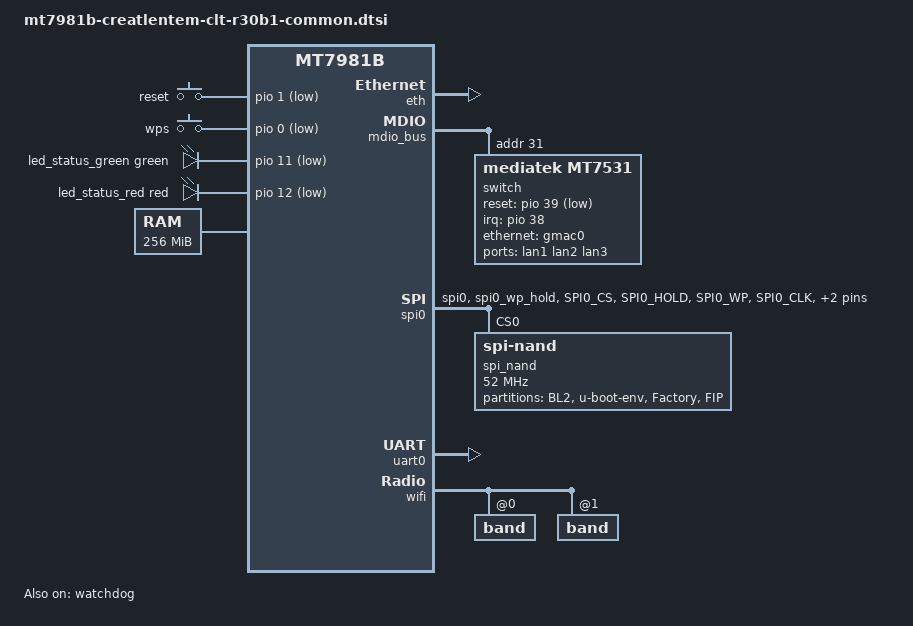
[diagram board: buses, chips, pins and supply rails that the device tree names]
// SPDX-License-Identifier: GPL-2.0-or-later OR MIT

/dts-v1/;

#include <dt-bindings/gpio/gpio.h>
#include <dt-bindings/input/input.h>
#include <dt-bindings/leds/common.h>

#include "mt7981b.dtsi"

/ {
	aliases {
		led-boot = &led_status_red;
		led-failsafe = &led_status_red;
		led-running = &led_status_green;
		led-upgrade = &led_status_green;
		serial0 = &uart0;
	};

	chosen {
		stdout-path = "serial0:115200n8";
	};

	gpio-keys {
		compatible = "gpio-keys";

		reset {
			label = "reset";
			linux,code = <KEY_RESTART>;
			gpios = <&pio 1 GPIO_ACTIVE_LOW>;
			debounce-interval = <60>;
		};

		wps {
			label = "wps";
			linux,code = <KEY_WPS_BUTTON>;
			gpios = <&pio 0 GPIO_ACTIVE_LOW>;
			debounce-interval = <60>;
		};
	};

	leds {
		compatible = "gpio-leds";

		led_status_green: green {
			color = <LED_COLOR_ID_GREEN>;
			function = LED_FUNCTION_STATUS;
			gpios = <&pio 11 GPIO_ACTIVE_LOW>;
		};

		led_status_red: red {
			color = <LED_COLOR_ID_RED>;
			function = LED_FUNCTION_STATUS;
			gpios = <&pio 12 GPIO_ACTIVE_LOW>;
		};
	};

	memory@40000000 {
		reg = <0 0x40000000 0 0x10000000>;
		device_type = "memory";
	};
};

&eth {
	status = "okay";

	gmac0: mac@0 {
		compatible = "mediatek,eth-mac";
		reg = <0>;
		phy-mode = "2500base-x";

		nvmem-cell-names = "mac-address";
		nvmem-cells = <&macaddr_factory_24 0>;

		fixed-link {
			speed = <2500>;
			full-duplex;
			pause;
		};
	};

	gmac1: mac@1 {
		compatible = "mediatek,eth-mac";
		reg = <1>;
		label = "wan";
		phy-mode = "gmii";
		phy-handle = <&int_gbe_phy>;

		nvmem-cell-names = "mac-address";
		nvmem-cells = <&macaddr_factory_2a 0>;
	};

};

&mdio_bus {
	switch: switch@1f {
		compatible = "mediatek,mt7531";
		reg = <31>;
		reset-gpios = <&pio 39 GPIO_ACTIVE_LOW>;
		interrupt-controller;
		#interrupt-cells = <1>;
		interrupt-parent = <&pio>;
		interrupts = <38 IRQ_TYPE_LEVEL_HIGH>;
	};
};

&spi0 {
	pinctrl-names = "default";
	pinctrl-0 = <&spi0_flash_pins>;
	status = "okay";

	spi_nand@0 {
		#address-cells = <1>;
		#size-cells = <1>;
		compatible = "spi-nand";
		reg = <0>;

		spi-max-frequency = <52000000>;
		spi-tx-bus-width = <4>;
		spi-rx-bus-width = <4>;

		spi-cal-enable;
		spi-cal-mode = "read-data";
		spi-cal-datalen = <7>;
		spi-cal-data = /bits/ 8 <0x53 0x50 0x49 0x4e 0x41 0x4e 0x44>;
		spi-cal-addrlen = <5>;
		spi-cal-addr = /bits/ 32 <0x0 0x0 0x0 0x0 0x0>;

		mediatek,nmbm;
		mediatek,bmt-max-ratio = <1>;
		mediatek,bmt-max-reserved-blocks = <64>;

		partitions: partitions {
			compatible = "fixed-partitions";
			#address-cells = <1>;
			#size-cells = <1>;

			partition@0 {
				label = "BL2";
				reg = <0x0 0x100000>;
				read-only;
			};

			partition@100000 {
				label = "u-boot-env";
				reg = <0x100000 0x80000>;
			};

			partition@180000 {
				label = "Factory";
				reg = <0x180000 0x200000>;
				read-only;

				nvmem-layout {
					compatible = "fixed-layout";
					#address-cells = <1>;
					#size-cells = <1>;

					eeprom_factory_0: eeprom@0 {
						reg = <0x0 0x1000>;
					};

					macaddr_factory_4: macaddr@4 {
						reg = <0x4 0x6>;
						compatible = "mac-base";
						#nvmem-cell-cells = <1>;
					};

					macaddr_factory_24: macaddr@24 {
						compatible = "mac-base";
						reg = <0x24 0x6>;
						#nvmem-cell-cells = <1>;
					};

					macaddr_factory_2a: macaddr@2a {
						compatible = "mac-base";
						reg = <0x2a 0x6>;
						#nvmem-cell-cells = <1>;
					};
				};
			};

			partition@380000 {
				label = "FIP";
				reg = <0x380000 0x200000>;
				read-only;
			};
		};
	};
};


&switch {
	ports {
		#address-cells = <1>;
		#size-cells = <0>;

		port@0 {
			reg = <0>;
			label = "lan1";
		};

		port@1 {
			reg = <1>;
			label = "lan2";
		};

		port@2 {
			reg = <2>;
			label = "lan3";
		};

		port@6 {
			reg = <6>;
			ethernet = <&gmac0>;
			phy-mode = "2500base-x";

			fixed-link {
				speed = <2500>;
				full-duplex;
				pause;
			};
		};
	};
};

&pio {
	spi0_flash_pins: spi0-pins {
		mux {
			function = "spi";
			groups = "spi0", "spi0_wp_hold";
		};

		conf-pu {
			pins = "SPI0_CS", "SPI0_HOLD", "SPI0_WP";
			drive-strength = <MTK_DRIVE_4mA>;
			bias-pull-up = <MTK_PUPD_SET_R1R0_11>;
		};

		conf-pd {
			pins = "SPI0_CLK", "SPI0_MOSI", "SPI0_MISO";
			drive-strength = <MTK_DRIVE_4mA>;
			bias-pull-down = <MTK_PUPD_SET_R1R0_11>;
		};
	};
};

&uart0 {
	status = "okay";
};

&watchdog {
	status = "okay";
};

&wifi {
	#address-cells = <1>;
	#size-cells = <0>;
	nvmem-cells = <&eeprom_factory_0>;
	nvmem-cell-names = "eeprom";
	status = "okay";

	band@0 {
		reg = <0>;
		nvmem-cells = <&macaddr_factory_4 0>;
		nvmem-cell-names = "mac-address";
	};

	band@1 {
		reg = <1>;
		nvmem-cells = <&macaddr_factory_4 1>;
		nvmem-cell-names = "mac-address";
	};
};
